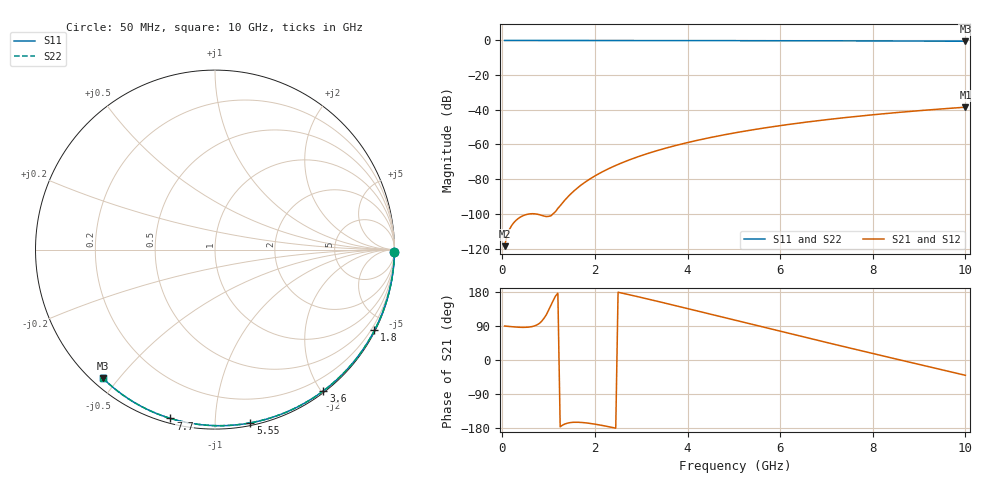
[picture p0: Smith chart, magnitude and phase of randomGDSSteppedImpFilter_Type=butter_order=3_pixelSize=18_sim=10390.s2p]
! freq	dB(S11)	phase(S11)	dB(S12)	phase(S12)
!  dB(S21)	phase(S21)	dB(S22)	phase(S22)
!S-par simulation data
#  GHz  S  DB  R 50
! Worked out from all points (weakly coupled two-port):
!   200 points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, 50 MHz to 10 GHz, reference 50 ohm
!   highest |S21| = -38.50 dB at 10 GHz (marker M1); lowest = -118.7 dB at 50 MHz (marker M2)
!   lowest |S11| = -0.4 dB at 10 GHz (marker M3), VSWR 39.16, Z = 1.54 - j22.7 ohm
!   |S11| at or under -10 dB: nowhere
!   |S22| runs from -0.4 to 0.0 dB; largest |S21 - S12| = 0
!   S11 on the Smith chart (normalised r, x): 50 MHz: open; 1.8 GHz: 0.04, -4.19; 3.6 GHz: 0.02, -2.03; 5.55 GHz: 0.02, -1.22; 7.7 GHz: 0.02, -0.77; 10 GHz: 0.03, -0.45
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0.05  -0.00 -0.8  -118.65 89.6  -118.65 89.6  -0.00 -0.8
0.45  -0.01 -6.8  -101.06 86.1  -101.06 86.1  -0.01 -6.8
0.9  -0.02 -13.6  -101.27 110.0  -101.27 110.0  -0.02 -13.6
1.75  -0.03 -26.1  -82.46 -165.2  -82.46 -165.2  -0.03 -26.1
1.8  -0.03 -26.9  -81.51 -165.8  -81.51 -165.8  -0.03 -26.9
1.9  -0.04 -28.3  -79.76 -167.4  -79.76 -167.4  -0.04 -28.3
2.05  -0.04 -30.5  -77.37 -170.3  -77.37 -170.3  -0.04 -30.5
2.25  -0.04 -33.4  -74.56 -174.9  -74.56 -174.9  -0.04 -33.4
2.45  -0.05 -36.3  -72.07 -179.9  -72.07 -179.9  -0.05 -36.3
2.65  -0.05 -39.2  -69.85 174.8  -69.85 174.8  -0.05 -39.2
3  -0.06 -44.1  -66.43 165.0  -66.43 165.0  -0.06 -44.1
3.4  -0.07 -49.8  -63.09 153.5  -63.09 153.5  -0.07 -49.8
3.6  -0.07 -52.5  -61.60 147.6  -61.60 147.6  -0.07 -52.5
4.3  -0.09 -62.1  -57.09 126.8  -57.09 126.8  -0.09 -62.1
5.05  -0.11 -72.0  -53.16 104.3  -53.16 104.3  -0.11 -72.0
5.55  -0.13 -78.5  -50.93 89.4  -50.93 89.4  -0.13 -78.5
6.1  -0.15 -85.4  -48.75 73.0  -48.75 73.0  -0.15 -85.4
6.7  -0.18 -92.8  -46.65 55.2  -46.65 55.2  -0.18 -92.8
7.7  -0.24 -104.8  -43.66 25.9  -43.66 25.9  -0.24 -104.8
8.35  -0.29 -112.4  -41.99 7.0  -41.99 7.0  -0.29 -112.4
9.15  -0.36 -121.5  -40.18 -16.0  -40.18 -16.0  -0.36 -121.5
10  -0.44 -131.1  -38.50 -40.4  -38.50 -40.4  -0.44 -131.1
